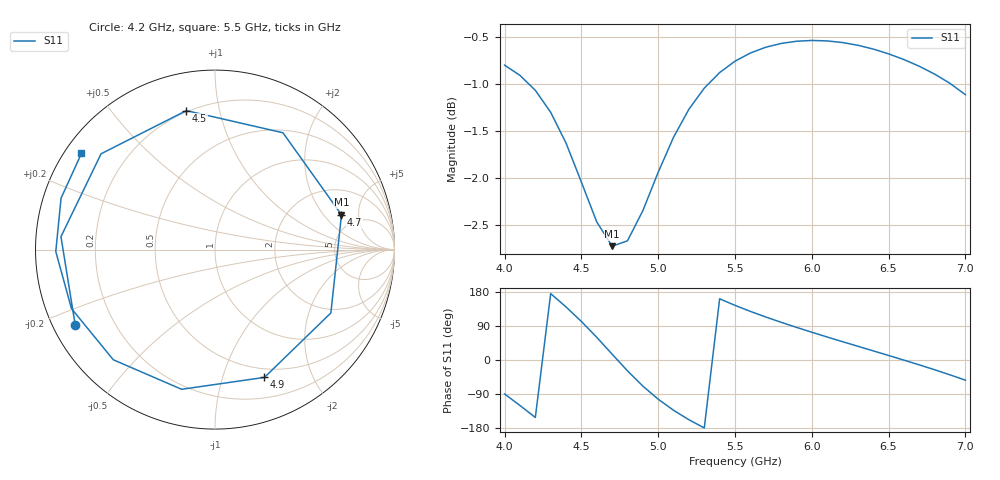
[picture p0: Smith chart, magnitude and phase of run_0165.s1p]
! Touchstone file exported from HFSS 2024.2.0
!  File:  C:/Users/wsak9/Desktop/Sim Fast/Widenad Patch/WP_AI_V1_sweep.aedt
!  Generated:  09:47:15 PM Oct 13, 2026
!  Design:  A1_model
!  Project:  WP_AI_V1_sweep
!  Setup:  Setup1
!  Solution:  Sweep
! Variables:
!  Air_gap = 2.11mm
!  Curve_Amp1 = 1.45
!  Curve_len1 = 1
!  Curve_pos = 12.905mm
!  Extra = 1.27mm
!  H_sub = 0.79mm
!  L_Patch = 21.81mm
!  L_Patch1 = 12.04mm
!  Sx = 1.32mm
!  Sy = 1.35mm
!  WS = 0.95mm
!  W_Patch = 10.83mm
!  W_Patch1 = 10.77mm
!Data is not renormalized
# GHz S MA
! Terminal data exported
! Port[1] = 1
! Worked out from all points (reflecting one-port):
!   31 points, 4 GHz to 7 GHz, reference per port
!   lowest |S11| = -2.7 dB at 4.7 GHz (marker M1), VSWR 6.43
!   phase of S11 starts at -90 deg and turns -684 deg over the sweep
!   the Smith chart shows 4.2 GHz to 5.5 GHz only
!   S11 on the Smith chart (normalised r, x): 4.2 GHz: 0.07, -0.25; 4.5 GHz: 0.19, +0.80; 4.7 GHz: 3.73, +3.11; 4.9 GHz: 0.40, -1.38; 5.5 GHz: 0.05, +0.32
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4  0.9125 -89.7
4.1  0.9011 -120.0
4.2  0.8848 -151.7
4.3  0.8613 175.2
4.4  0.8293 139.9
4.5  0.7906 101.6
4.6  0.753 59.8
4.7  0.7309 15.4
4.8  0.7357 -28.7
4.9  0.7634 -68.8
5  0.8003 -103.4
5.1  0.8354 -132.7
5.2  0.8645 -157.7
5.3  0.8872 -179.3
5.4  0.9043 161.5
5.5  0.9169 144.2
5.6  0.9262 128.3
5.7  0.9328 113.5
5.8  0.9371 99.5
5.9  0.9396 86.2
6  0.9406 73.3
6.1  0.94 60.7
6.3  0.935 36.2
6.5  0.9253 11.9
6.7  0.9112 -12.9
6.8  0.9025 -25.8
6.9  0.8923 -39.2
7  0.8801 -53.3
